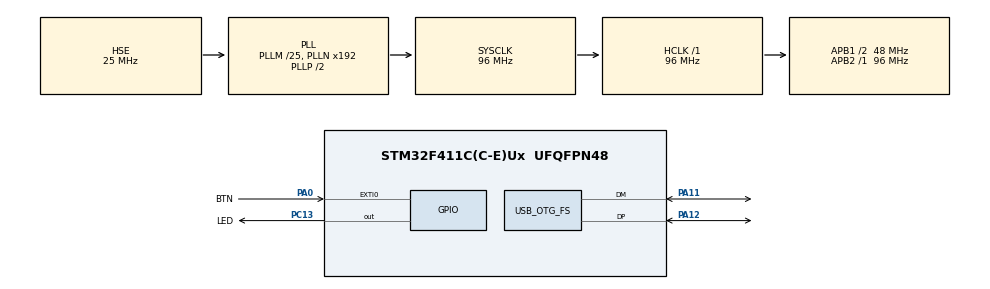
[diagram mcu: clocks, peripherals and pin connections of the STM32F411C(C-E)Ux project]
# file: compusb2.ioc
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Mcu.Family=STM32F4
Mcu.Name=STM32F411C(C-E)Ux
Mcu.Package=UFQFPN48
NVIC.EXTI0_IRQn=true\:0\:0\:false\:false\:true\:true\:true
NVIC.OTG_FS_IRQn=true\:0\:0\:false\:false\:true\:true\:true
NVIC.PriorityGroup=NVIC_PRIORITYGROUP_4
PA0-WKUP.GPIO_Label=BTN
PA0-WKUP.GPIO_ModeDefaultEXTI=GPIO_MODE_IT_RISING_FALLING
PA0-WKUP.GPIO_PuPd=GPIO_PULLUP
PA0-WKUP.Signal=GPXTI0
PA11.Mode=Device_Only
PA11.Signal=USB_OTG_FS_DM
PA12.Mode=Device_Only
PA12.Signal=USB_OTG_FS_DP
PA13.Mode=Serial_Wire
PA13.Signal=SYS_JTMS-SWDIO
PA14.Mode=Serial_Wire
PA14.Signal=SYS_JTCK-SWCLK
PC13-ANTI_TAMP.GPIO_Label=LED
PC13-ANTI_TAMP.GPIO_ModeDefaultOutputPP=GPIO_MODE_OUTPUT_OD
PC13-ANTI_TAMP.PinState=GPIO_PIN_SET
PC13-ANTI_TAMP.Signal=GPIO_Output
PH0\ -\ OSC_IN.Mode=HSE-External-Oscillator
PH0\ -\ OSC_IN.Signal=RCC_OSC_IN
PH1\ -\ OSC_OUT.Mode=HSE-External-Oscillator
PH1\ -\ OSC_OUT.Signal=RCC_OSC_OUT
ProjectManager.HeapSize=0x200
ProjectManager.StackSize=0x400
ProjectManager.TargetToolchain=STM32CubeIDE
RCC.48MHZClocksFreq_Value=48000000
RCC.AHBFreq_Value=96000000
RCC.APB1CLKDivider=RCC_HCLK_DIV2
RCC.APB1Freq_Value=48000000
RCC.APB1TimFreq_Value=96000000
RCC.APB2Freq_Value=96000000
RCC.APB2TimFreq_Value=96000000
RCC.CortexFreq_Value=96000000
RCC.HCLKFreq_Value=96000000
RCC.HSE_VALUE=25000000
RCC.HSI_VALUE=16000000
RCC.LSE_VALUE=32768
RCC.PLLM=25
RCC.SYSCLKFreq_VALUE=96000000
RCC.SYSCLKSource=RCC_SYSCLKSOURCE_PLLCLK
RCC.VCOOutputFreq_Value=192000000
USB_OTG_FS.Sof_enable=DISABLE
USB_OTG_FS.VirtualMode=Device_Only
board=custom

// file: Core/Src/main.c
/* USER CODE BEGIN Header */
/**
  ******************************************************************************
  * @file           : main.c
  * @brief          : Main program body
  ******************************************************************************
  * @attention
  *
  * <h2><center>&copy; Copyright (c) 2021 STMicroelectronics.
  * All rights reserved.</center></h2>
  *
  * This software component is licensed by ST under BSD 3-Clause license,
  * the "License"; You may not use this file except in compliance with the
  * License. You may obtain a copy of the License at:
  *                        opensource.org/licenses/BSD-3-Clause
  *
  ******************************************************************************
  */
/* USER CODE END Header */
#include "main.h"

/* USER CODE BEGIN Includes */
#include "usb_device.h"
#include "usbd_cdc_if.h"
#include "stdio.h"
/* USER CODE END Includes */

/* USER CODE BEGIN PD */
#define DFU_BOOT_FLAG 0xDEADBEEF
/* USER CODE END PD */

PCD_HandleTypeDef hpcd_USB_OTG_FS;

/* USER CODE BEGIN PV */
extern int _estack;
uint32_t *dfu_boot_flag;
uint32_t push_count = 0;
/* USER CODE END PV */

void SystemClock_Config(void);
static void MX_GPIO_Init(void);
static void MX_USB_OTG_FS_PCD_Init(void);

/* USER CODE BEGIN 0 */

int _write(int file, char *ptr, int len) {
        CDC_Transmit_FS((uint8_t*) ptr, len);
        return len;
}

void HAL_GPIO_EXTI_Callback(uint16_t GPIO_Pin) {
	if (GPIO_Pin == BTN_Pin) // If the button
	{
		GPIO_PinState pinState = HAL_GPIO_ReadPin(BTN_GPIO_Port, BTN_Pin);
		if (pinState == GPIO_PIN_RESET) {
			push_count = HAL_GetTick();
		} else {
			if (HAL_GetTick() - push_count > 1000) {
				// Set the boot flag and reset the mcu.  The bootloader
				// will detect the flag and stay in dfu mode.
				//dfu_boot_flag = (uint32_t) DFU_BOOT_FLAG;
				*dfu_boot_flag = DFU_BOOT_FLAG;
				HAL_NVIC_SystemReset();
			}
			push_count = 0;
		}

	}
}

/* USER CODE END 0 */

int main(void)
{
  /* USER CODE BEGIN 1 */
  dfu_boot_flag = (uint32_t *)(&_estack - 100); // 100 bytes below top of stack
  /* USER CODE END 1 */

  /* MCU Configuration--------------------------------------------------------*/

  /* Reset of all peripherals, Initializes the Flash interface and the Systick. */
  HAL_Init();

  /* Configure the system clock */
  SystemClock_Config();

  /* Initialize all configured peripherals */
  MX_GPIO_Init();
  MX_USB_OTG_FS_PCD_Init();
  /* USER CODE BEGIN 2 */

  MX_USB_DEVICE_Init();

  /* USER CODE END 2 */

  /* Infinite loop */
  /* USER CODE BEGIN WHILE */

  uint32_t now = 0, last_toggle = 0, last_print = 0, loop_count = 0;

  for (;;)
  {

	loop_count++;

	// Get current tick (in ms)
	now = HAL_GetTick();

	if (now - last_toggle >= 500) { // Toggle twice per second

		HAL_GPIO_TogglePin(LED_GPIO_Port, LED_Pin);

		last_toggle = now;
	}

	if (now - last_print >= 1000) { // Print once per second

		printf("Tick %lu (count = %lu)\n", now / 1000, loop_count);

		loop_count = 0;
		last_print = now;
	}

    /* USER CODE END WHILE */

  }
}

void SystemClock_Config(void)
{
  RCC_OscInitTypeDef RCC_OscInitStruct = {0};
  RCC_ClkInitTypeDef RCC_ClkInitStruct = {0};

  /** Configure the main internal regulator output voltage
  */
  __HAL_RCC_PWR_CLK_ENABLE();
  __HAL_PWR_VOLTAGESCALING_CONFIG(PWR_REGULATOR_VOLTAGE_SCALE1);
  /** Initializes the RCC Oscillators according to the specified parameters
  * in the RCC_OscInitTypeDef structure.
  */
  RCC_OscInitStruct.OscillatorType = RCC_OSCILLATORTYPE_HSE;
  RCC_OscInitStruct.HSEState = RCC_HSE_ON;
  RCC_OscInitStruct.PLL.PLLState = RCC_PLL_ON;
  RCC_OscInitStruct.PLL.PLLSource = RCC_PLLSOURCE_HSE;
  RCC_OscInitStruct.PLL.PLLM = 25;
  RCC_OscInitStruct.PLL.PLLN = 192;
  RCC_OscInitStruct.PLL.PLLP = RCC_PLLP_DIV2;
  RCC_OscInitStruct.PLL.PLLQ = 4;
  if (HAL_RCC_OscConfig(&RCC_OscInitStruct) != HAL_OK)
  {
    Error_Handler();
  }
  /** Initializes the CPU, AHB and APB buses clocks
  */
  RCC_ClkInitStruct.ClockType = RCC_CLOCKTYPE_HCLK|RCC_CLOCKTYPE_SYSCLK
                              |RCC_CLOCKTYPE_PCLK1|RCC_CLOCKTYPE_PCLK2;
  RCC_ClkInitStruct.SYSCLKSource = RCC_SYSCLKSOURCE_PLLCLK;
  RCC_ClkInitStruct.AHBCLKDivider = RCC_SYSCLK_DIV1;
  RCC_ClkInitStruct.APB1CLKDivider = RCC_HCLK_DIV2;
  RCC_ClkInitStruct.APB2CLKDivider = RCC_HCLK_DIV1;

  if (HAL_RCC_ClockConfig(&RCC_ClkInitStruct, FLASH_LATENCY_3) != HAL_OK)
  {
    Error_Handler();
  }
}

static void MX_USB_OTG_FS_PCD_Init(void)
{

  hpcd_USB_OTG_FS.Instance = USB_OTG_FS;
  hpcd_USB_OTG_FS.Init.dev_endpoints = 4;
  hpcd_USB_OTG_FS.Init.speed = PCD_SPEED_FULL;
  hpcd_USB_OTG_FS.Init.dma_enable = DISABLE;
  hpcd_USB_OTG_FS.Init.phy_itface = PCD_PHY_EMBEDDED;
  hpcd_USB_OTG_FS.Init.Sof_enable = DISABLE;
  hpcd_USB_OTG_FS.Init.low_power_enable = DISABLE;
  hpcd_USB_OTG_FS.Init.lpm_enable = DISABLE;
  hpcd_USB_OTG_FS.Init.vbus_sensing_enable = DISABLE;
  hpcd_USB_OTG_FS.Init.use_dedicated_ep1 = DISABLE;
  if (HAL_PCD_Init(&hpcd_USB_OTG_FS) != HAL_OK)
  {
    Error_Handler();
  }

}

static void MX_GPIO_Init(void)
{
  GPIO_InitTypeDef GPIO_InitStruct = {0};

  /* GPIO Ports Clock Enable */
  __HAL_RCC_GPIOC_CLK_ENABLE();
  __HAL_RCC_GPIOH_CLK_ENABLE();
  __HAL_RCC_GPIOA_CLK_ENABLE();

  /*Configure GPIO pin Output Level */
  HAL_GPIO_WritePin(LED_GPIO_Port, LED_Pin, GPIO_PIN_SET);

  /*Configure GPIO pin : LED_Pin */
  GPIO_InitStruct.Pin = LED_Pin;
  GPIO_InitStruct.Mode = GPIO_MODE_OUTPUT_OD;
  GPIO_InitStruct.Pull = GPIO_NOPULL;
  GPIO_InitStruct.Speed = GPIO_SPEED_FREQ_LOW;
  HAL_GPIO_Init(LED_GPIO_Port, &GPIO_InitStruct);

  /*Configure GPIO pin : BTN_Pin */
  GPIO_InitStruct.Pin = BTN_Pin;
  GPIO_InitStruct.Mode = GPIO_MODE_IT_RISING_FALLING;
  GPIO_InitStruct.Pull = GPIO_PULLUP;
  HAL_GPIO_Init(BTN_GPIO_Port, &GPIO_InitStruct);

  /* EXTI interrupt init*/
  HAL_NVIC_SetPriority(EXTI0_IRQn, 0, 0);
  HAL_NVIC_EnableIRQ(EXTI0_IRQn);

}

void Error_Handler(void)
{
  __disable_irq();
  while (1)
  {
  }
}

/************************ (C) COPYRIGHT STMicroelectronics *****END OF FILE****/
